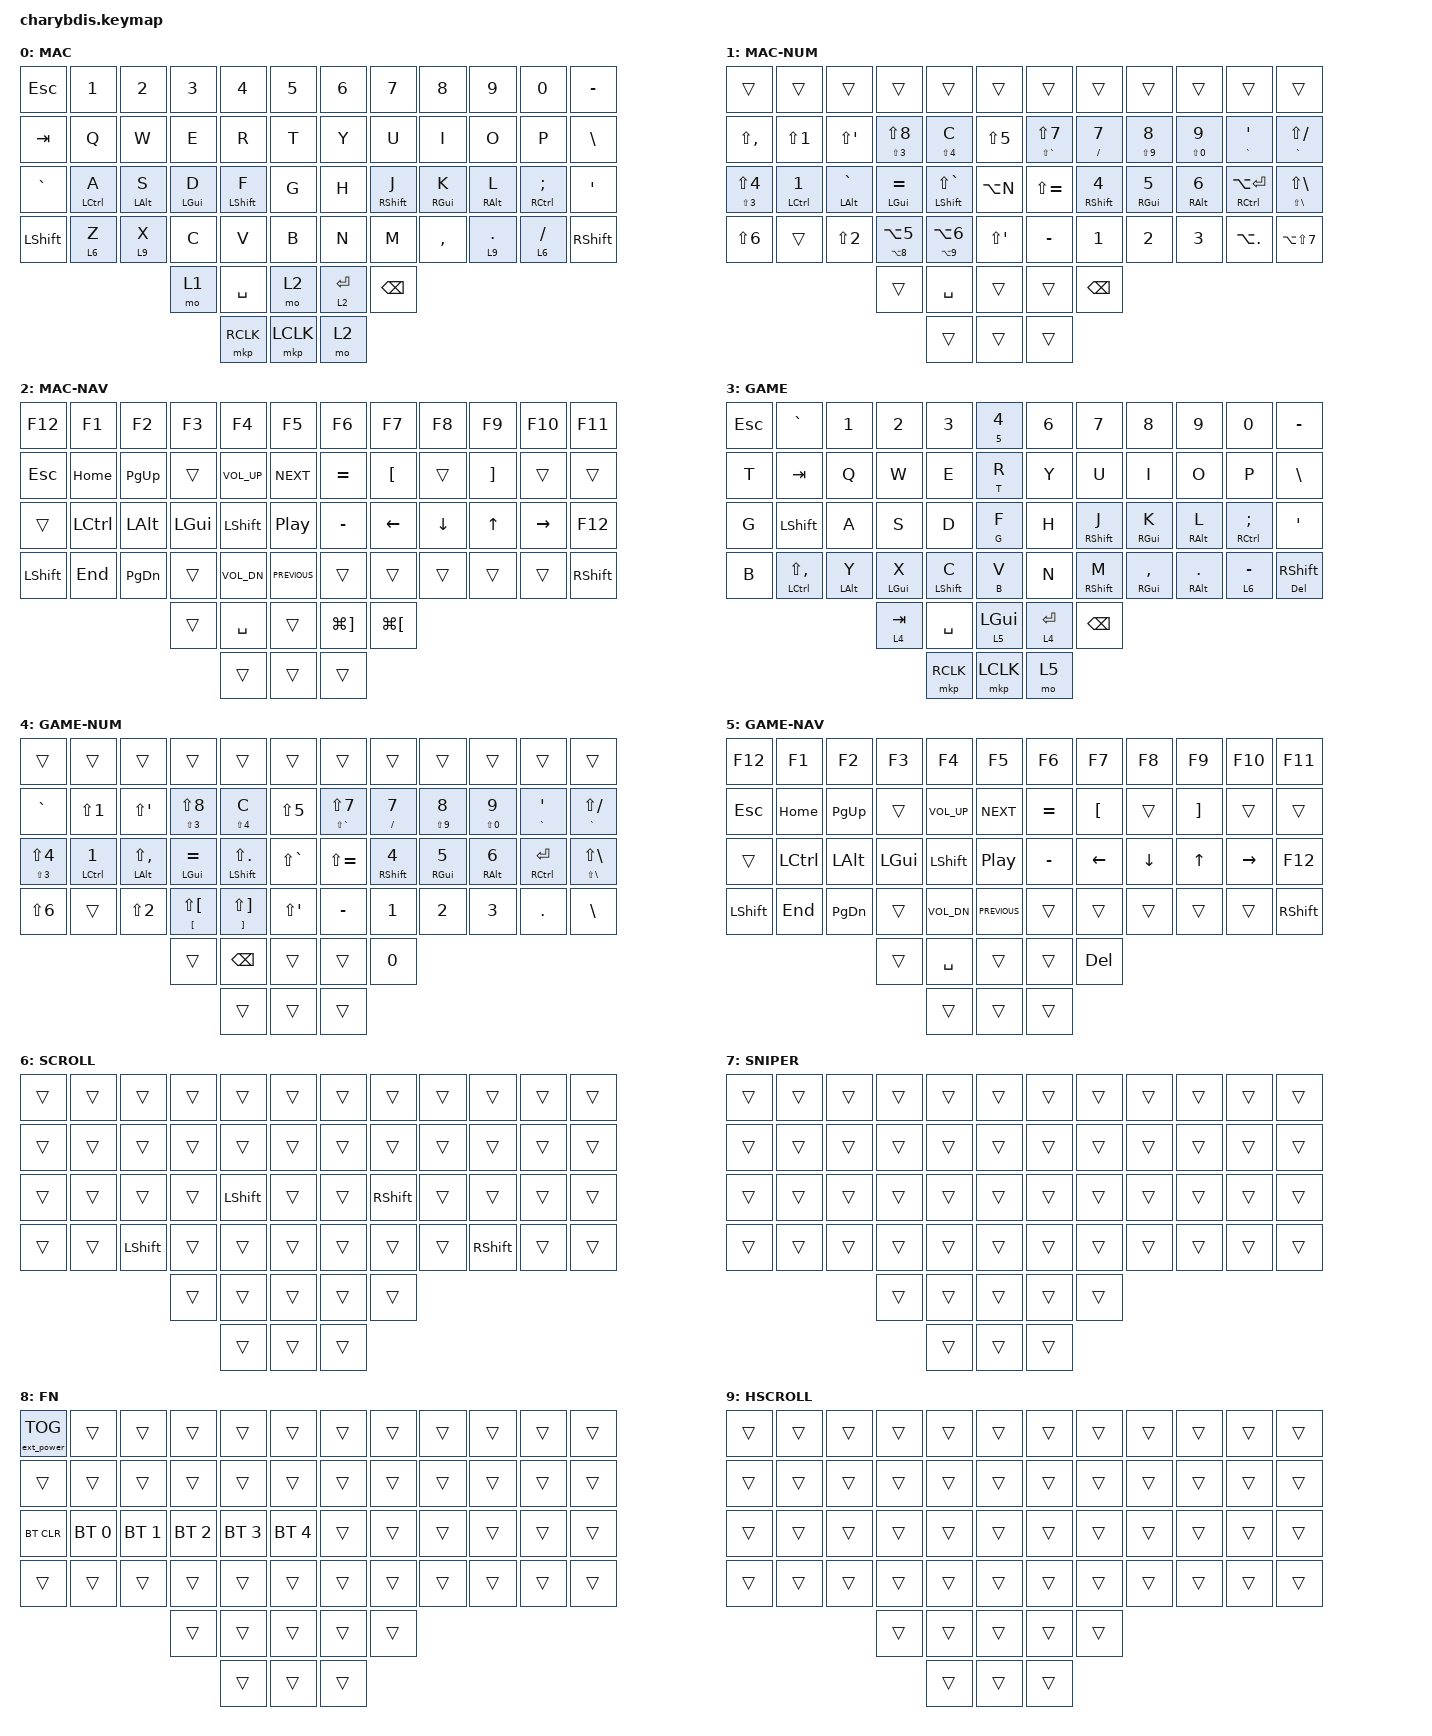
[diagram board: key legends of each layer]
#include <dt-bindings/zmk/mouse.h>
#include <behaviors/mouse_keys.dtsi>
#include <behaviors.dtsi>
#include <dt-bindings/zmk/bt.h>
#include <dt-bindings/zmk/ext_power.h>
#include <dt-bindings/zmk/keys.h>
#include <dt-bindings/zmk/modifiers.h>
#include <dt-bindings/zmk/pointing.h>

// / {
//     chosen { zmk,matrix_transform = &default_transform; };
// };

/ {
    /* input config for mouse move mode */

    trackball_listener {
        compatible = "zmk,input-behavior-listener";
        device = <&vtrackball>;
        layers = <0 3>;
        evt-type = <INPUT_EV_REL>;
        x-input-code = <INPUT_REL_X>;
        y-input-code = <INPUT_REL_Y>;
        scale-multiplier = <1>;
        scale-divisor = <2>;

        // bindings = <&ib_toggle_layer 7>;
    };

    /* input config for snipe mode */

    trackball_snipe_listener {
        compatible = "zmk,input-behavior-listener";
        device = <&vtrackball>;
        layers = <7>;
        evt-type = <INPUT_EV_REL>;
        x-input-code = <INPUT_REL_X>;
        y-input-code = <INPUT_REL_Y>;
        scale-multiplier = <1>;
        scale-divisor = <4>;
    };

    /* input config for mouse scroll mode */

    trackball_scroll_listener {
        compatible = "zmk,input-behavior-listener";
        device = <&vtrackball>;
        layers = <6>;
        evt-type = <INPUT_EV_REL>;
        x-input-code = <INPUT_REL_MISC>;
        y-input-code = <INPUT_REL_WHEEL>;
        y-invert;
        bindings = <&ib_wheel_scaler 1 60>;
    };

    /* input config for mouse horizontal scroll mode */

    trackball_hscroll_listener {
        compatible = "zmk,input-behavior-listener";
        device = <&vtrackball>;
        layers = <9>;
        evt-type = <INPUT_EV_REL>;
        x-input-code = <INPUT_REL_MISC>;
        y-input-code = <INPUT_REL_HWHEEL>;
        y-invert;
        bindings = <&ib_hwheel_scaler 1 60>;
    };

    /* define a resolution down scaler only for INPUT_REL_WHEEL */

    ib_wheel_scaler: ib_wheel_scaler {
        compatible = "zmk,input-behavior-scaler";
        #binding-cells = <2>;
        evt-type = <INPUT_EV_REL>;
        input-code = <INPUT_REL_WHEEL>;
    };

    /* define a resolution down scaler only for INPUT_REL_HWHEEL */

    ib_hwheel_scaler: ib_hwheel_scaler {
        compatible = "zmk,input-behavior-scaler";
        #binding-cells = <2>;
        evt-type = <INPUT_EV_REL>;
        input-code = <INPUT_REL_HWHEEL>;
    };

    /* adjust cooldown waiting period for mouse key layer after activated */

    ib_toggle_layer: ib_toggle_layer {
        compatible = "zmk,input-behavior-tog-layer";
        #binding-cells = <1>;
        time-to-live-ms = <750>;
    };

    // #define MAC       0
    // #define MAC-NUM   1
    // #define MAC-NAV   2
    // #define GAME      3
    // #define GAME-NUM  4
    // #define GAME-NAV  5
    // #define SCROLL    6
    // #define SNIPER    7
    // #define FN        8
    // #define HSCROLL   9

    combos {
        compatible = "zmk,combos";

        to-MAC {
            bindings = <&to 0>;
            key-positions = <50 51>;
            layers = <0 3 8>;
        };

        to-GAME {
            bindings = <&to 3>;
            key-positions = <47 36>;
            layers = <0 3 8>;
        };

        to-FN {
            bindings = <&to 8>;
            key-positions = <41 42>;
            layers = <0 3>;
        };

        rh_leftClick {
            bindings = <&mkp LCLK>;
            key-positions = <43 44>;
        };

        rh_rightClick {
            bindings = <&mkp RCLK>;
            key-positions = <44 45>;
        };

        rh_middleClick {
            bindings = <&mkp MCLK>;
            key-positions = <44 45 43>;
        };

        lh_leftClick {
            bindings = <&mkp LCLK>;
            key-positions = <40 39>;
        };

        lh_rightClick {
            bindings = <&mkp RCLK>;
            key-positions = <38 39>;
        };

        lh_middleClick {
            bindings = <&mkp MCLK>;
            key-positions = <38 39 40>;
        };

    };

    behaviors {
        hmr: hmr {
            compatible = "zmk,behavior-hold-tap";
            label = "HMR";
            bindings = <&kp>, <&kp>;

            #binding-cells = <2>;
            tapping-term-ms = <400>;
            quick-tap-ms = <175>;
            flavor = "tap-preferred";
            require-prior-idle-ms = <120>;
            hold-trigger-key-positions = <0 1 2 3 4 5 12 13 14 15 16 17 24 25 26 27 28 29 36 37 38 39 40 41 48 49 50 53 54 51 52 55>;
            hold-trigger-on-release;
        };

        hml: hml {
            compatible = "zmk,behavior-hold-tap";
            label = "HML";
            bindings = <&kp>, <&kp>;

            #binding-cells = <2>;
            tapping-term-ms = <400>;
            quick-tap-ms = <175>;
            flavor = "tap-preferred";
            require-prior-idle-ms = <120>;
            hold-trigger-key-positions = <48 49 50 53 54 51 52 55 6 7 8 9 10 11 18 19 20 21 22 23 30 31 32 33 34 35 42 43 44 45 46 47 51 52>;
            hold-trigger-on-release;
        };
    };

    keymap {
        compatible = "zmk,keymap";

        default_mac_layer {
            label = "MAC";
            bindings = <
&kp ESCAPE      &kp N1               &kp N2           &kp N3           &kp N4                   &kp N5            &kp N6       &kp N7                           &kp N8            &kp N9            &kp N0                          &kp MINUS
&kp TAB         &kp Q                &kp W            &kp E            &kp R                    &kp T             &kp Y        &kp U                            &kp I             &kp O             &kp P                           &kp BSLH
&kp GRAVE       &hml LEFT_CONTROL A  &hml LEFT_ALT S  &hml LEFT_GUI D  &hml LEFT_SHIFT F        &kp G             &kp H        &hmr RIGHT_SHIFT J               &hmr RIGHT_GUI K  &hmr RIGHT_ALT L  &hmr RIGHT_CONTROL SEMI         &kp SQT
&kp LSHIFT      &lt 6 Z              &lt 9 X          &kp C            &kp V                    &kp B             &kp N        &kp M                            &kp COMMA         &lt 9 DOT          &lt 6 SLASH                     &kp RSHIFT
                                                      &mo 1            &kp SPACE                &mo 2             &lt 2 ENTER  &kp BACKSPACE
                                                                       &mkp RCLK                &mkp LCLK         &mo 2
            >;
        };

        mac_raise_layer {
            label = "MAC-NUM";
            bindings = <
&trans                     &trans                &trans                    &trans                 &trans                     &trans        &trans                 &trans               &trans                          &trans                &trans                         &trans
&kp LS(COMMA)              &kp LS(N1)            &kp LS(SQT)               &hml LS(N3) LS(N8)     &hml LS(N4) C              &kp LS(N5)    &hmr LS(GRAVE) LS(N7)  &hmr SLASH N7        &hmr LS(N9) N8                  &hmr LS(N0) N9        &hmr GRAVE SQT                 &hmr GRAVE LS(SLASH)
&hml LS(N3) LS(N4)         &hml LEFT_CONTROL N1  &hml LEFT_ALT GRAVE       &hml LEFT_GUI EQUAL    &hml LEFT_SHIFT LS(GRAVE)  &kp LA(N)     &kp LS(EQUAL)          &hmr RIGHT_SHIFT N4  &hmr RIGHT_GUI N5               &hmr RIGHT_ALT N6     &hmr RIGHT_CONTROL LA(RETURN)  &hmr LS(BSLH) LS(BSLH)
&kp LS(N6)                 &trans                &kp LS(N2)                &hml LA(N8) LA(N5)     &hml LA(N9) LA(N6)         &kp LS(SQT)   &kp MINUS              &kp N1               &kp N2                          &kp N3                &kp LA(DOT)                    &kp LA(LS(N7))
                                                                           &trans                 &kp SPACE                  &trans        &trans                 &kp BACKSPACE
                                                                                                  &trans                     &trans        &trans
            >;
        };

        mac_lower_layer {
            label = "MAC-NAV";
            bindings = <
&kp F12     &kp F1            &kp F2         &kp F3          &kp F4            &kp F5             &kp F6        &kp F7                &kp F8          &kp F9             &kp F10          &kp F11
&kp ESCAPE  &kp HOME          &kp PAGE_UP    &trans          &kp C_VOL_UP      &kp C_NEXT         &kp EQUAL     &kp LBKT              &trans          &kp RBKT           &trans           &trans
&trans      &kp LEFT_CONTROL  &kp LEFT_ALT   &kp LEFT_GUI    &kp LEFT_SHIFT    &kp C_PLAY_PAUSE   &kp MINUS     &kp LEFT_ARROW        &kp DOWN_ARROW  &kp UP_ARROW       &kp RIGHT_ARROW  &kp F12
&kp LSHIFT  &kp END           &kp PAGE_DOWN  &trans          &kp C_VOL_DN      &kp C_PREVIOUS     &trans        &trans                &trans          &trans             &trans           &kp RSHIFT
                                             &trans          &kp SPACE         &trans             &kp LG(RBKT)  &kp LG(LBKT)
                                                             &trans            &trans             &trans
            >;
        };

        default_game_layer {
            label = "GAME";
            bindings = <
&kp ESCAPE  &kp GRAVE                    &kp N1           &kp N2           &kp N3             &hml N5 N4        &kp N6       &kp N7              &kp N8                   &kp N9                    &kp N0                       &kp MINUS
&kp T       &kp TAB                      &kp Q            &kp W            &kp E              &hml T R          &kp Y        &kp U               &kp I                    &kp O                     &kp P                        &kp BSLH
&kp G       &kp LEFT_SHIFT               &kp A            &kp S            &kp D              &hml G F          &kp H        &hmr RIGHT_SHIFT J  &hmr RIGHT_GUI K         &hmr RIGHT_ALT L          &hmr RIGHT_CONTROL SEMI      &kp SQT
&kp B       &hml LEFT_CONTROL LS(COMMA)  &hml LEFT_ALT Y  &hml LEFT_GUI X  &hml LEFT_SHIFT C  &hml B V          &kp N        &hmr RIGHT_SHIFT M  &hmr RIGHT_GUI COMMA     &hmr RIGHT_ALT DOT        &lt 6 MINUS                  &hmr DELETE RIGHT_SHIFT
                                                          &lt 4 TAB        &kp SPACE          &lt 5 LEFT_GUI    &lt 4 ENTER  &kp BACKSPACE
                                                                           &mkp RCLK          &mkp LCLK         &mo 5
            >;
        };

        game_raise_layer {
            label = "GAME-NUM";
            bindings = <
&trans                &trans                &trans                      &trans                    &trans                            &trans            &trans                 &trans                  &trans                  &trans                   &trans                       &trans
&kp GRAVE             &kp LS(N1)            &kp LS(SQT)                 &hml LS(N3) LS(N8)        &hml LS(N4) C                     &kp LS(N5)        &hmr LS(GRAVE) LS(N7)  &hmr SLASH N7           &hmr LS(N9) N8          &hmr LS(N0) N9           &hmr GRAVE SQT               &hmr GRAVE LS(SLASH)
&hml LS(N3) LS(N4)    &hml LEFT_CONTROL N1  &hml LEFT_ALT LS(COMMA)     &hml LEFT_GUI EQUAL       &hml LEFT_SHIFT LS(DOT)           &kp LS(GRAVE)     &kp LS(EQUAL)          &hmr RIGHT_SHIFT N4     &hmr RIGHT_GUI N5       &hmr RIGHT_ALT N6        &hmr RIGHT_CONTROL ENTER     &hmr LS(BSLH) LS(BSLH)
&kp LS(N6)            &trans                &kp LS(N2)                  &hml LBKT LS(LBKT)        &hml RBKT LS(RBKT)                &kp LS(SQT)       &kp MINUS              &kp N1                  &kp N2                  &kp N3                   &kp DOT                      &kp BSLH
                                                                        &trans                    &kp BACKSPACE                     &trans            &trans                 &kp N0
                                                                                                  &trans                            &trans            &trans
            >;
        };

        game_lower_layer {
            label = "GAME-NAV";
            bindings = <
&kp F12     &kp F1            &kp F2         &kp F3          &kp F4            &kp F5             &kp F6        &kp F7                &kp F8          &kp F9             &kp F10          &kp F11
&kp ESCAPE  &kp HOME          &kp PAGE_UP    &trans          &kp C_VOL_UP      &kp C_NEXT         &kp EQUAL     &kp LBKT              &trans          &kp RBKT           &trans           &trans
&trans      &kp LEFT_CONTROL  &kp LEFT_ALT   &kp LEFT_GUI    &kp LEFT_SHIFT    &kp C_PLAY_PAUSE   &kp MINUS     &kp LEFT_ARROW        &kp DOWN_ARROW  &kp UP_ARROW       &kp RIGHT_ARROW  &kp F12
&kp LSHIFT  &kp END           &kp PAGE_DOWN  &trans          &kp C_VOL_DN      &kp C_PREVIOUS     &trans        &trans                &trans          &trans             &trans           &kp RSHIFT
                                             &trans          &kp SPACE         &trans             &trans        &kp DELETE
                                                             &trans            &trans             &trans
            >;
        };

        scroll_layer {
            bindings = <
&trans  &trans  &trans          &trans  &trans          &trans    &trans  &trans           &trans  &trans           &trans  &trans
&trans  &trans  &trans          &trans  &trans          &trans    &trans  &trans           &trans  &trans           &trans  &trans
&trans  &trans  &trans          &trans  &kp LEFT_SHIFT  &trans    &trans  &kp RIGHT_SHIFT  &trans  &trans           &trans  &trans
&trans  &trans  &kp LEFT_SHIFT  &trans  &trans          &trans    &trans  &trans           &trans  &kp RIGHT_SHIFT  &trans  &trans
                                &trans  &trans          &trans    &trans  &trans
                                        &trans          &trans    &trans
            >;

            label = "SCROLL";
        };

        sniper_layer {
            bindings = <
&trans  &trans  &trans  &trans  &trans  &trans    &trans  &trans  &trans  &trans  &trans  &trans
&trans  &trans  &trans  &trans  &trans  &trans    &trans  &trans  &trans  &trans  &trans  &trans
&trans  &trans  &trans  &trans  &trans  &trans    &trans  &trans  &trans  &trans  &trans  &trans
&trans  &trans  &trans  &trans  &trans  &trans    &trans  &trans  &trans  &trans  &trans  &trans
                        &trans  &trans  &trans    &trans  &trans
                                &trans  &trans    &trans
            >;

            label = "SNIPER";
        };

        keeb_pref_layer {
            label = "FN";
            bindings = <
&ext_power EP_TOG  &trans        &trans        &trans        &trans        &trans          &trans  &trans  &trans  &trans  &trans  &trans
&trans             &trans        &trans        &trans        &trans        &trans          &trans  &trans  &trans  &trans  &trans  &trans
&bt BT_CLR         &bt BT_SEL 0  &bt BT_SEL 1  &bt BT_SEL 2  &bt BT_SEL 3  &bt BT_SEL 4    &trans  &trans  &trans  &trans  &trans  &trans
&trans             &trans        &trans        &trans        &trans        &trans          &trans  &trans  &trans  &trans  &trans  &trans
                                               &trans        &trans        &trans          &trans  &trans
                                                             &trans        &trans          &trans
            >;
        };

        hscroll_layer {
            label = "HSCROLL";
            bindings = <
&trans  &trans  &trans  &trans  &trans  &trans    &trans  &trans  &trans  &trans  &trans  &trans
&trans  &trans  &trans  &trans  &trans  &trans    &trans  &trans  &trans  &trans  &trans  &trans
&trans  &trans  &trans  &trans  &trans  &trans    &trans  &trans  &trans  &trans  &trans  &trans
&trans  &trans  &trans  &trans  &trans  &trans    &trans  &trans  &trans  &trans  &trans  &trans
                        &trans  &trans  &trans    &trans  &trans
                                &trans  &trans    &trans
            >;
        };
    };
};
